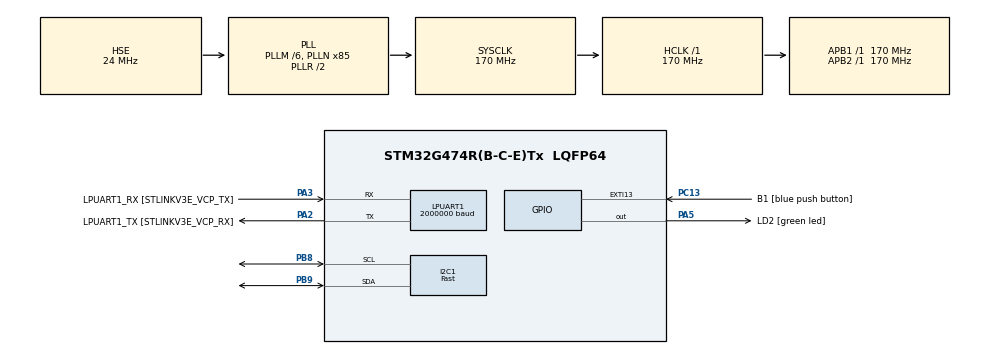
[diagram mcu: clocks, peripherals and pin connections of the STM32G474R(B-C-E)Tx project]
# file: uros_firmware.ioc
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Dma.LPUART1_RX.0.Direction=DMA_PERIPH_TO_MEMORY
Dma.LPUART1_RX.0.EventEnable=DISABLE
Dma.LPUART1_RX.0.Instance=DMA1_Channel1
Dma.LPUART1_RX.0.MemDataAlignment=DMA_MDATAALIGN_BYTE
Dma.LPUART1_RX.0.MemInc=DMA_MINC_ENABLE
Dma.LPUART1_RX.0.Mode=DMA_CIRCULAR
Dma.LPUART1_RX.0.PeriphDataAlignment=DMA_PDATAALIGN_BYTE
Dma.LPUART1_RX.0.PeriphInc=DMA_PINC_DISABLE
Dma.LPUART1_RX.0.Polarity=HAL_DMAMUX_REQ_GEN_RISING
Dma.LPUART1_RX.0.Priority=DMA_PRIORITY_VERY_HIGH
Dma.LPUART1_RX.0.RequestNumber=1
Dma.LPUART1_RX.0.SignalID=NONE
Dma.LPUART1_RX.0.SyncEnable=DISABLE
Dma.LPUART1_RX.0.SyncPolarity=HAL_DMAMUX_SYNC_NO_EVENT
Dma.LPUART1_RX.0.SyncRequestNumber=1
Dma.LPUART1_RX.0.SyncSignalID=NONE
Dma.LPUART1_TX.1.Direction=DMA_MEMORY_TO_PERIPH
Dma.LPUART1_TX.1.EventEnable=DISABLE
Dma.LPUART1_TX.1.Instance=DMA1_Channel2
Dma.LPUART1_TX.1.MemDataAlignment=DMA_MDATAALIGN_BYTE
Dma.LPUART1_TX.1.MemInc=DMA_MINC_ENABLE
Dma.LPUART1_TX.1.Mode=DMA_NORMAL
Dma.LPUART1_TX.1.PeriphDataAlignment=DMA_PDATAALIGN_BYTE
Dma.LPUART1_TX.1.PeriphInc=DMA_PINC_DISABLE
Dma.LPUART1_TX.1.Polarity=HAL_DMAMUX_REQ_GEN_RISING
Dma.LPUART1_TX.1.Priority=DMA_PRIORITY_VERY_HIGH
Dma.LPUART1_TX.1.RequestNumber=1
Dma.LPUART1_TX.1.SignalID=NONE
Dma.LPUART1_TX.1.SyncEnable=DISABLE
Dma.LPUART1_TX.1.SyncPolarity=HAL_DMAMUX_SYNC_NO_EVENT
Dma.LPUART1_TX.1.SyncRequestNumber=1
Dma.LPUART1_TX.1.SyncSignalID=NONE
Dma.Request0=LPUART1_RX
Dma.Request1=LPUART1_TX
FREERTOS.Tasks01=defaultTask,24,3000,StartDefaultTask,As weak,NULL,Static,defaultTaskBuffer,defaultTaskControlBlock
FREERTOS.configENABLE_FPU=1
I2C1.I2C_Speed_Mode=I2C_Fast
I2C1.Timing=0x40621236
LPUART1.BaudRate=2000000
Mcu.Family=STM32G4
Mcu.Name=STM32G474R(B-C-E)Tx
Mcu.Package=LQFP64
NVIC.DMA1_Channel1_IRQn=true\:5\:0\:false\:false\:true\:true\:false\:true\:true
NVIC.DMA1_Channel2_IRQn=true\:5\:0\:false\:false\:true\:true\:false\:true\:true
NVIC.EXTI15_10_IRQn=true\:5\:0\:false\:false\:true\:true\:true\:true\:true
NVIC.LPUART1_IRQn=true\:5\:0\:false\:false\:true\:true\:true\:true\:true
NVIC.PriorityGroup=NVIC_PRIORITYGROUP_4
NVIC.TIM1_UP_TIM16_IRQn=true\:15\:0\:false\:false\:true\:false\:false\:true\:true
NVIC.TimeBase=TIM1_UP_TIM16_IRQn
NVIC.TimeBaseIP=TIM1
PA13.GPIO_Label=T_SWDIO
PA13.Signal=SYS_JTMS-SWDIO
PA14.GPIO_Label=T_SWCLK
PA14.Signal=SYS_JTCK-SWCLK
PA2.GPIO_Label=LPUART1_TX [STLINKV3E_VCP_RX]
PA2.Mode=Asynchronous
PA2.Signal=LPUART1_TX
PA3.GPIO_Label=LPUART1_RX [STLINKV3E_VCP_TX]
PA3.Mode=Asynchronous
PA3.Signal=LPUART1_RX
PA5.GPIO_Label=LD2 [green led]
PA5.Signal=GPIO_Output
PB3.GPIO_Label=T_SWO
PB3.Signal=SYS_JTDO-SWO
PB8-BOOT0.Mode=I2C
PB8-BOOT0.Signal=I2C1_SCL
PB9.Mode=I2C
PB9.Signal=I2C1_SDA
PC13.GPIO_Label=B1 [blue push button]
PC13.Signal=GPXTI13
PC14-OSC32_IN.GPIO_Label=RCC_OSC32_IN
PC14-OSC32_IN.Signal=RCC_OSC32_IN
PC15-OSC32_OUT.GPIO_Label=RCC_OSC32_OUT
PC15-OSC32_OUT.Signal=RCC_OSC32_OUT
PF0-OSC_IN.GPIO_Label=RCC_OSC_IN
PF0-OSC_IN.Mode=HSE-External-Oscillator
PF0-OSC_IN.Signal=RCC_OSC_IN
PF1-OSC_OUT.GPIO_Label=RCC_OSC_OUT
PF1-OSC_OUT.Mode=HSE-External-Oscillator
PF1-OSC_OUT.Signal=RCC_OSC_OUT
ProjectManager.HeapSize=0x200
ProjectManager.StackSize=0x400
ProjectManager.TargetToolchain=STM32CubeIDE
RCC.ADC12Freq_Value=170000000
RCC.ADC345Freq_Value=170000000
RCC.AHBFreq_Value=170000000
RCC.APB1Freq_Value=170000000
RCC.APB1TimFreq_Value=170000000
RCC.APB2Freq_Value=170000000
RCC.APB2TimFreq_Value=170000000
RCC.CortexFreq_Value=170000000
RCC.EXTERNAL_CLOCK_VALUE=12288000
RCC.HCLKFreq_Value=170000000
RCC.HSE_VALUE=24000000
RCC.HSI48_VALUE=48000000
RCC.HSI_VALUE=16000000
RCC.LSE_VALUE=32768
RCC.PLLM=RCC_PLLM_DIV6
RCC.PLLN=85
RCC.PLLSourceVirtual=RCC_PLLSOURCE_HSE
RCC.RTCClockSelection=RCC_RTCCLKSOURCE_LSE
RCC.SYSCLKFreq_VALUE=170000000
RCC.SYSCLKSource=RCC_SYSCLKSOURCE_PLLCLK
RCC.USBFreq_Value=170000000
RCC.VCOOutputFreq_Value=340000000
VP_FREERTOS_VS_CMSIS_V2.Mode=CMSIS_V2
VP_IWDG_VS_IWDG.Mode=IWDG_Activate
VP_SYS_VS_DBSignals.Mode=DisableDeadBatterySignals
VP_SYS_VS_tim1.Mode=TIM1
board=NUCLEO-G474RE

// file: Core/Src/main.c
/* USER CODE BEGIN Header */
/**
  ******************************************************************************
  * @file           : main.c
  * @brief          : Main program body
  ******************************************************************************
  * @attention
  *
  * Copyright (c) 2024 STMicroelectronics.
  * All rights reserved.
  *
  * This software is licensed under terms that can be found in the LICENSE file
  * in the root directory of this software component.
  * If no LICENSE file comes with this software, it is provided AS-IS.
  *
  ******************************************************************************
  */
/* USER CODE END Header */
#include "main.h"
#include "cmsis_os.h"
#include "dma.h"
#include "i2c.h"
#include "iwdg.h"
#include "usart.h"
#include "gpio.h"

/* USER CODE BEGIN Includes */
#include <rcl/rcl.h>
#include <rcl/error_handling.h>
#include <rclc/rclc.h>
#include <rclc/executor.h>
#include <uxr/client/transport.h>
#include <rmw_microxrcedds_c/config.h>
#include <rmw_microros/rmw_microros.h>
#include <micro_ros_utilities/string_utilities.h>

#include <sensor_msgs/msg/imu.h>
#include <imu_interfaces/srv/imu_calibration.h>

#include <mpu6050.h>

#include <math.h>
/* USER CODE END Includes */

/* USER CODE BEGIN PTD */
typedef struct {
	double x;
	double y;
	double z;
} offset3d_t;
/* USER CODE END PTD */

/* USER CODE BEGIN PD */
#define G2M_S2 9.81
#define DEG2RAD M_PI / 100.0
/* USER CODE END PD */

/* USER CODE BEGIN PM */
#define RCSOFTCHECK(fn) if (fn != RCL_RET_OK) {};
/* USER CODE END PM */

/* USER CODE BEGIN PV */

/* MicroROS transport via DMA variable BEGIN */
bool cubemx_transport_open(struct uxrCustomTransport * transport);
bool cubemx_transport_close(struct uxrCustomTransport * transport);
size_t cubemx_transport_write(struct uxrCustomTransport* transport, const uint8_t * buf, size_t len, uint8_t * err);
size_t cubemx_transport_read(struct uxrCustomTransport* transport, uint8_t* buf, size_t len, int timeout, uint8_t* err);
/* MicroROS transport via DMA variable END*/

/* ROS VARIABLES BEGIN */
rcl_init_options_t init_options;
rclc_support_t support;
rcl_allocator_t allocator;
rcl_node_t node;
rclc_executor_t executor;
//uint8_t executor_num = 1;
/* ROS VARIABLES END */

/* IMU VARIABLES BEGIN */
rcl_timer_t imu_timer;
rcl_publisher_t imu_publisher;
sensor_msgs__msg__Imu imu_msg;
//rcl_service_t imu_service;
imu_interfaces__srv__ImuCalibration_Response imu_response;
imu_interfaces__srv__ImuCalibration_Request imu_request;
MPU6050_t MPU6050;
offset3d_t accel_offset;
offset3d_t gyro_offset;
bool is_imu_calib = false;
bool is_imu_service_destroy = false;
/* IMU VARIABLES END */
/* USER CODE END PV */

void SystemClock_Config(void);
void MX_FREERTOS_Init(void);
/* USER CODE BEGIN PFP */
void StartDefaultTask(void *argument);
void * microros_allocate(size_t size, void * state);
void microros_deallocate(void * pointer, void * state);
void * microros_reallocate(void * pointer, size_t size, void * state);
void * microros_zero_allocate(size_t number_of_elements, size_t size_of_element, void * state);
void imu_calibration_callback(const void * request_msg, void * response_msg);
/* USER CODE END PFP */

int main(void)
{

  /* MCU Configuration--------------------------------------------------------*/

  /* Reset of all peripherals, Initializes the Flash interface and the Systick. */
  HAL_Init();

  /* Configure the system clock */
  SystemClock_Config();

  /* Initialize all configured peripherals */
  MX_GPIO_Init();
  MX_DMA_Init();
  MX_LPUART1_UART_Init();
  MX_I2C1_Init();
  MX_IWDG_Init();
  /* USER CODE BEGIN 2 */
  // Init imu
  while (MPU6050_Init(&hi2c1) == 1);
  /* USER CODE END 2 */

  /* Init scheduler */
  osKernelInitialize();

  /* Call init function for freertos objects (in cmsis_os2.c) */
  MX_FREERTOS_Init();

  /* Start scheduler */
  osKernelStart();

  /* We should never get here as control is now taken by the scheduler */

  /* Infinite loop */
  while (1)
  {

  }
}

void SystemClock_Config(void)
{
  RCC_OscInitTypeDef RCC_OscInitStruct = {0};
  RCC_ClkInitTypeDef RCC_ClkInitStruct = {0};

  /** Configure the main internal regulator output voltage
  */
  HAL_PWREx_ControlVoltageScaling(PWR_REGULATOR_VOLTAGE_SCALE1_BOOST);

  /** Initializes the RCC Oscillators according to the specified parameters
  * in the RCC_OscInitTypeDef structure.
  */
  RCC_OscInitStruct.OscillatorType = RCC_OSCILLATORTYPE_LSI|RCC_OSCILLATORTYPE_HSE;
  RCC_OscInitStruct.HSEState = RCC_HSE_ON;
  RCC_OscInitStruct.LSIState = RCC_LSI_ON;
  RCC_OscInitStruct.PLL.PLLState = RCC_PLL_ON;
  RCC_OscInitStruct.PLL.PLLSource = RCC_PLLSOURCE_HSE;
  RCC_OscInitStruct.PLL.PLLM = RCC_PLLM_DIV6;
  RCC_OscInitStruct.PLL.PLLN = 85;
  RCC_OscInitStruct.PLL.PLLP = RCC_PLLP_DIV2;
  RCC_OscInitStruct.PLL.PLLQ = RCC_PLLQ_DIV2;
  RCC_OscInitStruct.PLL.PLLR = RCC_PLLR_DIV2;
  if (HAL_RCC_OscConfig(&RCC_OscInitStruct) != HAL_OK)
  {
    Error_Handler();
  }

  /** Initializes the CPU, AHB and APB buses clocks
  */
  RCC_ClkInitStruct.ClockType = RCC_CLOCKTYPE_HCLK|RCC_CLOCKTYPE_SYSCLK
                              |RCC_CLOCKTYPE_PCLK1|RCC_CLOCKTYPE_PCLK2;
  RCC_ClkInitStruct.SYSCLKSource = RCC_SYSCLKSOURCE_PLLCLK;
  RCC_ClkInitStruct.AHBCLKDivider = RCC_SYSCLK_DIV1;
  RCC_ClkInitStruct.APB1CLKDivider = RCC_HCLK_DIV1;
  RCC_ClkInitStruct.APB2CLKDivider = RCC_HCLK_DIV1;

  if (HAL_RCC_ClockConfig(&RCC_ClkInitStruct, FLASH_LATENCY_4) != HAL_OK)
  {
    Error_Handler();
  }
}

/* USER CODE BEGIN 4 */
void timer_callback(rcl_timer_t * timer, int64_t last_call_time)
{
	if (timer != NULL) {
		if (is_imu_calib){
			MPU6050_Read_All(&hi2c1, &MPU6050);

			imu_msg.header.stamp.sec = rmw_uros_epoch_millis() / 1000;
			imu_msg.header.stamp.nanosec = rmw_uros_epoch_nanos();

			imu_msg.linear_acceleration.x = (G2M_S2 * MPU6050.Ax) - accel_offset.x;
			imu_msg.linear_acceleration.y = (G2M_S2 * MPU6050.Ay) - accel_offset.y;
			imu_msg.linear_acceleration.z = (G2M_S2 * MPU6050.Az) - accel_offset.z;

			imu_msg.angular_velocity.x = (DEG2RAD * MPU6050.Gx) - gyro_offset.x;
			imu_msg.angular_velocity.y = (DEG2RAD * MPU6050.Gy) - gyro_offset.y;
			imu_msg.angular_velocity.z = (DEG2RAD * MPU6050.Gz) - gyro_offset.z;

			RCSOFTCHECK(rcl_publish(&imu_publisher, &imu_msg, NULL));
		}

		HAL_IWDG_Refresh(&hiwdg);
	}
}

void imu_calibration_callback(const void * request_msg, void * response_msg){
  // Cast messages to expected types
  imu_interfaces__srv__ImuCalibration_Request * req_in = (imu_interfaces__srv__ImuCalibration_Request *) request_msg;
  imu_interfaces__srv__ImuCalibration_Response * res_in = (imu_interfaces__srv__ImuCalibration_Response *) response_msg;

  for(int i = 0; i<9; i++){
	  imu_msg.linear_acceleration_covariance[i] = req_in->imu_calib.linear_acceleration_covariance[i];
	  imu_msg.angular_velocity_covariance[i] = req_in->imu_calib.angular_velocity_covariance[i];
  }

  accel_offset.x = req_in->imu_calib.linear_acceleration.x;
  accel_offset.y = req_in->imu_calib.linear_acceleration.y;
  accel_offset.z = req_in->imu_calib.linear_acceleration.z;

  gyro_offset.x = req_in->imu_calib.angular_velocity.x;
  gyro_offset.y = req_in->imu_calib.angular_velocity.y;
  gyro_offset.z = req_in->imu_calib.angular_velocity.z;

  is_imu_calib = true;

  res_in -> success = true;

  //			if(!is_imu_service_destroy){
  //				RCSOFTCHECK(rcl_service_fini(&imu_service, &node));
  //				is_imu_service_destroy = true;
  //			}

  HAL_GPIO_TogglePin(LD2_GPIO_Port, LD2_Pin);
}

void StartDefaultTask(void *argument)
{
  /* USER CODE BEGIN StartDefaultTask */

  // micro-ROS configuration

  rmw_uros_set_custom_transport(
	true,
	(void *) &hlpuart1,
	cubemx_transport_open,
	cubemx_transport_close,
	cubemx_transport_write,
	cubemx_transport_read);

  rcl_allocator_t freeRTOS_allocator = rcutils_get_zero_initialized_allocator();
  freeRTOS_allocator.allocate = microros_allocate;
  freeRTOS_allocator.deallocate = microros_deallocate;
  freeRTOS_allocator.reallocate = microros_reallocate;
  freeRTOS_allocator.zero_allocate =  microros_zero_allocate;

  if (!rcutils_set_default_allocator(&freeRTOS_allocator)) {
	  printf("Error on default allocators (line %d)\n", __LINE__);
  }

  // Init Pin state
  GPIO_PinState button = HAL_GPIO_ReadPin(B1_GPIO_Port, B1_Pin);

  // Init execute local variables
  uint8_t executor_num = 1;

  if (button == GPIO_PIN_RESET){
//	  executor_num++;

  }
  else{
	  is_imu_calib = true;
  }

  // micro-ROS app
  // Initialize micro-ROS allocator
  allocator = rcl_get_default_allocator();

  // Initialize and modify options (Set DOMAIN ID to 73)
  init_options = rcl_get_zero_initialized_init_options();
  RCSOFTCHECK(rcl_init_options_init(&init_options, allocator));
  RCSOFTCHECK(rcl_init_options_set_domain_id(&init_options, 73));

  // Initialize rclc support object with custom options
  rclc_support_init_with_options(&support, 0, NULL, &init_options, &allocator);

  // Create node object
  const char * node_name = "imu_node";

  // Init node with configured support object
  rclc_node_init_default(&node, node_name, "", &support);

  // Synchronize time with the agent
  rmw_uros_sync_session(1000);

  // Create timer
  rclc_timer_init_default(
	&imu_timer,
	&support,
	RCL_MS_TO_NS(10),
	timer_callback
  );

  // Creates best effort rcl imu publisher
  rclc_publisher_init_best_effort(
    &imu_publisher,
	&node,
	ROSIDL_GET_MSG_TYPE_SUPPORT(sensor_msgs, msg, Imu),
	"imu"
  );

  // Create imu message
  imu_msg.header.frame_id = micro_ros_string_utilities_init("imu_frame");

  // Creates imu service
//  rclc_service_init_default(
//	&imu_service,
//	&node,
//	ROSIDL_GET_SRV_TYPE_SUPPORT(imu_interfaces, srv, ImuCalibration),
//	"imu_calibration"
//  );

  // Create executor
  executor = rclc_executor_get_zero_initialized_executor();
  rclc_executor_init(&executor, &support.context, executor_num, &allocator);

  // Add executor
  rclc_executor_add_timer(&executor, &imu_timer);
//  if(executor_num == 2){rclc_executor_add_service(&executor,&imu_service, &imu_request, &imu_response, imu_calibration_callback);}

  // Spin executor
  rclc_executor_spin(&executor);

  /* Infinite loop */
  for(;;)
  {
    osDelay(10);
  }
  /* USER CODE END StartDefaultTask */
}
/* USER CODE END 4 */

void HAL_TIM_PeriodElapsedCallback(TIM_HandleTypeDef *htim)
{
  if (htim->Instance == TIM1) {
    HAL_IncTick();
  }
}

void Error_Handler(void)
{
  __disable_irq();
  while (1)
  {
  }
}
